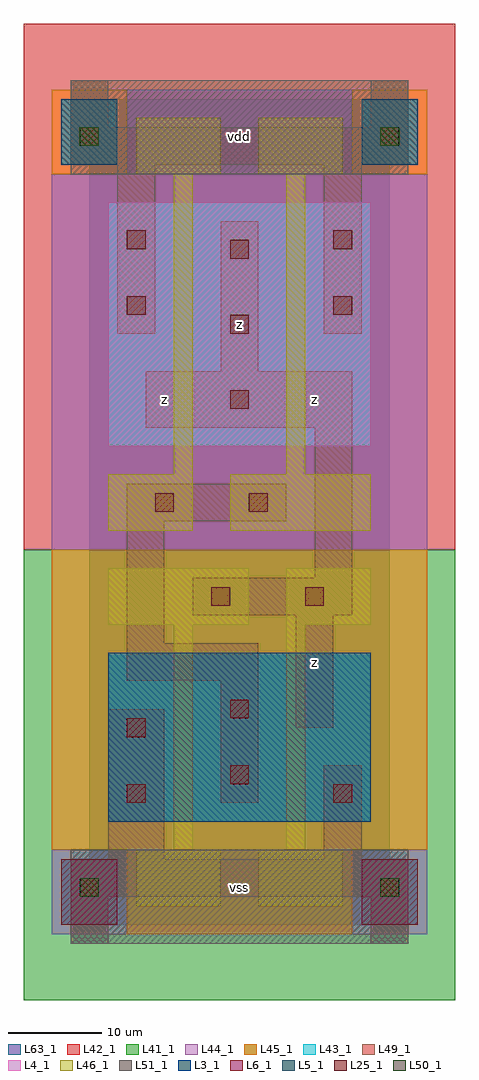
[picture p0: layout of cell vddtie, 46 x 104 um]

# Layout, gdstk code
import gdstk
lib = gdstk.Library(unit=1e-6, precision=1e-09)
def R(c, l, rs):  # rectangles x0, y0, x1, y1
    for r in rs: c.add(gdstk.rectangle(r[:2], r[2:], *l))
def A(c, l, x, y, w, h, nx, ny, dx, dy):  # array of equal rectangles
    R(c, l, [(x+i*dx, y+j*dy, x+i*dx+w, y+j*dy+h) for i in range(nx) for j in range(ny)])
L3_1 = (3, 1)
L4_1 = (4, 1)
L5_1 = (5, 1)
L6_1 = (6, 1)
L25_1 = (25, 1)
L41_1 = (41, 1)
L42_1 = (42, 1)
L43_1 = (43, 1)
L44_1 = (44, 1)
L45_1 = (45, 1)
L46_1 = (46, 1)
L49_1 = (49, 1)
L50_1 = (50, 1)
L51_1 = (51, 1)
L63_1 = (63, 1)

vddtie = lib.new_cell('vddtie')
R(vddtie, L3_1, [(2,11,30,29)])
R(vddtie, L4_1, [(2,51,30,77)])
R(vddtie, L5_1, [(-3,81,3,88), (29,81,35,88)])
R(vddtie, L6_1, [(-3,0,3,7), (-3,0,3,7), (29,0,35,7), (29,0,35,7)])
A(vddtie, L25_1, 15, 55, 2, 2, 1, 3, 0, 8)
R(vddtie, L25_1, [(-1,3,1,5), (31,3,33,5), (4,13,6,15), (26,13,28,15), (15,15,17,17), (4,20,6,22), (15,22,17,24), (13,34,15,36), (23,34,25,36), (7,44,9,46), (17,44,19,46), (4,65,6,67), (26,65,28,67), (4,72,6,74), (26,72,28,74), (-1,83,1,85), (31,83,33,85)])
R(vddtie, L41_1, [(-7,-8,39,40)])
R(vddtie, L42_1, [(-7,40,39,96)])
R(vddtie, L43_1, [(-3,0,3,7), (29,0,35,7), (2,11,30,29), (2,51,30,77), (-3,81,3,88), (29,81,35,88)])
R(vddtie, L44_1, [(-4,-1,4,8), (28,-1,36,8), (-4,40,36,80), (4,80,28,89)])
R(vddtie, L45_1, [(4,-1,28,8), (-4,8,36,40), (-4,80,4,89), (28,80,36,89)])
R(vddtie, L46_1, [(5,2,14,8), (18,2,27,8), (9,8,11,32), (21,8,23,32), (2,32,17,38), (21,32,30,38), (2,42,11,48), (15,42,30,48), (9,48,11,80), (21,48,23,80), (5,80,14,86), (18,80,27,86)])
R(vddtie, L49_1, [(-2,-2,2,3), (30,-2,34,3), (-2,3,34,7), (2,7,8,23), (25,7,29,17), (14,13,18,26), (22,21,26,33), (4,26,18,30), (4,30,8,43), (11,33,28,37), (24,37,28,53), (4,43,21,47), (6,53,28,59), (14,59,18,75), (3,63,7,81), (25,63,29,81), (-2,81,34,85), (-2,85,2,90), (30,85,34,90)])
R(vddtie, L50_1, [(-1,3,1,5), (31,3,33,5), (-1,83,1,85), (31,83,33,85)])
R(vddtie, L51_1, [(-2,-2,34,8), (-2,80,34,90)])
R(vddtie, L63_1, [(0,0,32,88)])
vddtie.add(gdstk.Label('z', (8,56), layer=49, texttype=1))
vddtie.add(gdstk.Label('z', (16,64), layer=49, texttype=1))
vddtie.add(gdstk.Label('z', (24,28), layer=49, texttype=1))
vddtie.add(gdstk.Label('z', (24,56), layer=49, texttype=1))
vddtie.add(gdstk.Label('vss', (16,4), layer=51, texttype=1))
vddtie.add(gdstk.Label('vdd', (16,84), layer=51, texttype=1))

lib.write_gds('vddtie.gds')
